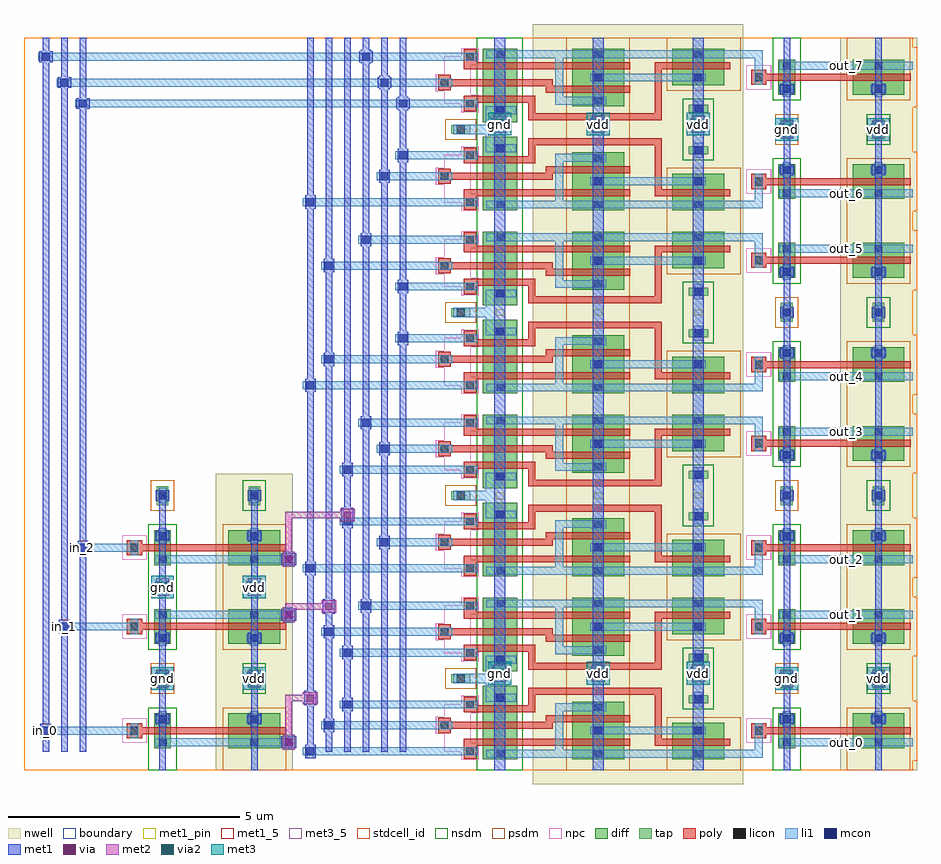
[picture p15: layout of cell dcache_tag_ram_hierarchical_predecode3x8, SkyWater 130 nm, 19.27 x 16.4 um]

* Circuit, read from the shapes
.subckt dcache_tag_ram_hierarchical_predecode3x8 gnd in_0 in_1 in_2 out_0 out_1 out_2 out_3 out_4 out_5 out_6 out_7 vdd
XM1 gnd in_0 dcache_tag_ram_and3_dec_3/A gnd sky130_fd_pr__nfet_01v8 w=0.36 l=0.15
XM2 dcache_tag_ram_and3_dec_3/B in_1 gnd gnd sky130_fd_pr__nfet_01v8 w=0.36 l=0.15
XM3 gnd in_2 dcache_tag_ram_and3_dec_3/C gnd sky130_fd_pr__nfet_01v8 w=0.36 l=0.15
XM4 n1 dcache_tag_ram_and3_dec_3/A dcache_tag_ram_and3_dec_3/dcache_tag_ram_pinv_dec_1/A gnd sky130_fd_pr__nfet_01v8 w=0.74 l=0.15
XM5 n2 dcache_tag_ram_and3_dec_3/B n1 gnd sky130_fd_pr__nfet_01v8 w=0.74 l=0.15
XM6 gnd dcache_tag_ram_and3_dec_3/C n2 gnd sky130_fd_pr__nfet_01v8 w=0.74 l=0.15
XM7 n3 dcache_tag_ram_and3_dec_3/C gnd gnd sky130_fd_pr__nfet_01v8 w=0.74 l=0.15
XM8 n4 dcache_tag_ram_and3_dec_3/B n3 gnd sky130_fd_pr__nfet_01v8 w=0.74 l=0.15
XM9 dcache_tag_ram_and3_dec_4/dcache_tag_ram_pinv_dec_1/A in_0 n4 gnd sky130_fd_pr__nfet_01v8 w=0.74 l=0.15
XM10 n5 dcache_tag_ram_and3_dec_3/A dcache_tag_ram_and3_dec_5/dcache_tag_ram_pinv_dec_1/A gnd sky130_fd_pr__nfet_01v8 w=0.74 l=0.15
XM11 n6 in_1 n5 gnd sky130_fd_pr__nfet_01v8 w=0.74 l=0.15
XM12 gnd dcache_tag_ram_and3_dec_3/C n6 gnd sky130_fd_pr__nfet_01v8 w=0.74 l=0.15
XM13 n7 dcache_tag_ram_and3_dec_3/C gnd gnd sky130_fd_pr__nfet_01v8 w=0.74 l=0.15
XM14 n8 in_1 n7 gnd sky130_fd_pr__nfet_01v8 w=0.74 l=0.15
XM15 dcache_tag_ram_and3_dec_6/dcache_tag_ram_pinv_dec_1/A in_0 n8 gnd sky130_fd_pr__nfet_01v8 w=0.74 l=0.15
XM16 n9 dcache_tag_ram_and3_dec_3/A dcache_tag_ram_and3_dec_7/dcache_tag_ram_pinv_dec_1/A gnd sky130_fd_pr__nfet_01v8 w=0.74 l=0.15
XM17 n10 dcache_tag_ram_and3_dec_3/B n9 gnd sky130_fd_pr__nfet_01v8 w=0.74 l=0.15
XM18 gnd in_2 n10 gnd sky130_fd_pr__nfet_01v8 w=0.74 l=0.15
XM19 n11 in_2 gnd gnd sky130_fd_pr__nfet_01v8 w=0.74 l=0.15
XM20 n12 dcache_tag_ram_and3_dec_3/B n11 gnd sky130_fd_pr__nfet_01v8 w=0.74 l=0.15
XM21 dcache_tag_ram_and3_dec_8/dcache_tag_ram_pinv_dec_1/A in_0 n12 gnd sky130_fd_pr__nfet_01v8 w=0.74 l=0.15
XM22 n13 dcache_tag_ram_and3_dec_3/A dcache_tag_ram_and3_dec_9/dcache_tag_ram_pinv_dec_1/A gnd sky130_fd_pr__nfet_01v8 w=0.74 l=0.15
XM23 n14 in_1 n13 gnd sky130_fd_pr__nfet_01v8 w=0.74 l=0.15
XM24 gnd in_2 n14 gnd sky130_fd_pr__nfet_01v8 w=0.74 l=0.15
XM25 n15 in_2 gnd gnd sky130_fd_pr__nfet_01v8 w=0.74 l=0.15
XM26 n16 in_1 n15 gnd sky130_fd_pr__nfet_01v8 w=0.74 l=0.15
XM27 dcache_tag_ram_and3_dec_10/dcache_tag_ram_pinv_dec_1/A in_0 n16 gnd sky130_fd_pr__nfet_01v8 w=0.74 l=0.15
XM28 gnd dcache_tag_ram_and3_dec_3/dcache_tag_ram_pinv_dec_1/A out_0 gnd sky130_fd_pr__nfet_01v8 w=0.36 l=0.15
XM29 out_1 dcache_tag_ram_and3_dec_4/dcache_tag_ram_pinv_dec_1/A gnd gnd sky130_fd_pr__nfet_01v8 w=0.36 l=0.15
XM30 gnd dcache_tag_ram_and3_dec_5/dcache_tag_ram_pinv_dec_1/A out_2 gnd sky130_fd_pr__nfet_01v8 w=0.36 l=0.15
XM31 out_3 dcache_tag_ram_and3_dec_6/dcache_tag_ram_pinv_dec_1/A gnd gnd sky130_fd_pr__nfet_01v8 w=0.36 l=0.15
XM32 gnd dcache_tag_ram_and3_dec_7/dcache_tag_ram_pinv_dec_1/A out_4 gnd sky130_fd_pr__nfet_01v8 w=0.36 l=0.15
XM33 out_5 dcache_tag_ram_and3_dec_8/dcache_tag_ram_pinv_dec_1/A gnd gnd sky130_fd_pr__nfet_01v8 w=0.36 l=0.15
XM34 gnd dcache_tag_ram_and3_dec_9/dcache_tag_ram_pinv_dec_1/A out_6 gnd sky130_fd_pr__nfet_01v8 w=0.36 l=0.15
XM35 out_7 dcache_tag_ram_and3_dec_10/dcache_tag_ram_pinv_dec_1/A gnd gnd sky130_fd_pr__nfet_01v8 w=0.36 l=0.15
XM36 vdd in_0 dcache_tag_ram_and3_dec_3/A vdd sky130_fd_pr__pfet_01v8 w=1.12 l=0.15
XM37 dcache_tag_ram_and3_dec_3/B in_1 vdd vdd sky130_fd_pr__pfet_01v8 w=1.12 l=0.15
XM38 vdd in_2 dcache_tag_ram_and3_dec_3/C vdd sky130_fd_pr__pfet_01v8 w=1.12 l=0.15
XM39 vdd dcache_tag_ram_and3_dec_3/A dcache_tag_ram_and3_dec_3/dcache_tag_ram_pinv_dec_1/A vdd sky130_fd_pr__pfet_01v8 w=1.12 l=0.15
XM40 dcache_tag_ram_and3_dec_3/dcache_tag_ram_pinv_dec_1/A dcache_tag_ram_and3_dec_3/B vdd vdd sky130_fd_pr__pfet_01v8 w=1.12 l=0.15
XM41 vdd dcache_tag_ram_and3_dec_3/B dcache_tag_ram_and3_dec_4/dcache_tag_ram_pinv_dec_1/A vdd sky130_fd_pr__pfet_01v8 w=1.12 l=0.15
XM42 dcache_tag_ram_and3_dec_4/dcache_tag_ram_pinv_dec_1/A in_0 vdd vdd sky130_fd_pr__pfet_01v8 w=1.12 l=0.15
XM43 vdd dcache_tag_ram_and3_dec_3/A dcache_tag_ram_and3_dec_5/dcache_tag_ram_pinv_dec_1/A vdd sky130_fd_pr__pfet_01v8 w=1.12 l=0.15
XM44 dcache_tag_ram_and3_dec_5/dcache_tag_ram_pinv_dec_1/A in_1 vdd vdd sky130_fd_pr__pfet_01v8 w=1.12 l=0.15
XM45 vdd in_1 dcache_tag_ram_and3_dec_6/dcache_tag_ram_pinv_dec_1/A vdd sky130_fd_pr__pfet_01v8 w=1.12 l=0.15
XM46 dcache_tag_ram_and3_dec_6/dcache_tag_ram_pinv_dec_1/A in_0 vdd vdd sky130_fd_pr__pfet_01v8 w=1.12 l=0.15
XM47 vdd dcache_tag_ram_and3_dec_3/A dcache_tag_ram_and3_dec_7/dcache_tag_ram_pinv_dec_1/A vdd sky130_fd_pr__pfet_01v8 w=1.12 l=0.15
XM48 dcache_tag_ram_and3_dec_7/dcache_tag_ram_pinv_dec_1/A dcache_tag_ram_and3_dec_3/B vdd vdd sky130_fd_pr__pfet_01v8 w=1.12 l=0.15
XM49 vdd dcache_tag_ram_and3_dec_3/B dcache_tag_ram_and3_dec_8/dcache_tag_ram_pinv_dec_1/A vdd sky130_fd_pr__pfet_01v8 w=1.12 l=0.15
XM50 dcache_tag_ram_and3_dec_8/dcache_tag_ram_pinv_dec_1/A in_0 vdd vdd sky130_fd_pr__pfet_01v8 w=1.12 l=0.15
XM51 vdd dcache_tag_ram_and3_dec_3/A dcache_tag_ram_and3_dec_9/dcache_tag_ram_pinv_dec_1/A vdd sky130_fd_pr__pfet_01v8 w=1.12 l=0.15
XM52 dcache_tag_ram_and3_dec_9/dcache_tag_ram_pinv_dec_1/A in_1 vdd vdd sky130_fd_pr__pfet_01v8 w=1.12 l=0.15
XM53 vdd in_1 dcache_tag_ram_and3_dec_10/dcache_tag_ram_pinv_dec_1/A vdd sky130_fd_pr__pfet_01v8 w=1.12 l=0.15
XM54 dcache_tag_ram_and3_dec_10/dcache_tag_ram_pinv_dec_1/A in_0 vdd vdd sky130_fd_pr__pfet_01v8 w=1.12 l=0.15
XM55 vdd dcache_tag_ram_and3_dec_3/C dcache_tag_ram_and3_dec_3/dcache_tag_ram_pinv_dec_1/A vdd sky130_fd_pr__pfet_01v8 w=1.12 l=0.15
XM56 dcache_tag_ram_and3_dec_4/dcache_tag_ram_pinv_dec_1/A dcache_tag_ram_and3_dec_3/C vdd vdd sky130_fd_pr__pfet_01v8 w=1.12 l=0.15
XM57 vdd dcache_tag_ram_and3_dec_3/C dcache_tag_ram_and3_dec_5/dcache_tag_ram_pinv_dec_1/A vdd sky130_fd_pr__pfet_01v8 w=1.12 l=0.15
XM58 dcache_tag_ram_and3_dec_6/dcache_tag_ram_pinv_dec_1/A dcache_tag_ram_and3_dec_3/C vdd vdd sky130_fd_pr__pfet_01v8 w=1.12 l=0.15
XM59 vdd in_2 dcache_tag_ram_and3_dec_7/dcache_tag_ram_pinv_dec_1/A vdd sky130_fd_pr__pfet_01v8 w=1.12 l=0.15
XM60 dcache_tag_ram_and3_dec_8/dcache_tag_ram_pinv_dec_1/A in_2 vdd vdd sky130_fd_pr__pfet_01v8 w=1.12 l=0.15
XM61 vdd in_2 dcache_tag_ram_and3_dec_9/dcache_tag_ram_pinv_dec_1/A vdd sky130_fd_pr__pfet_01v8 w=1.12 l=0.15
XM62 dcache_tag_ram_and3_dec_10/dcache_tag_ram_pinv_dec_1/A in_2 vdd vdd sky130_fd_pr__pfet_01v8 w=1.12 l=0.15
XM63 vdd dcache_tag_ram_and3_dec_3/dcache_tag_ram_pinv_dec_1/A out_0 vdd sky130_fd_pr__pfet_01v8 w=1.12 l=0.15
XM64 out_1 dcache_tag_ram_and3_dec_4/dcache_tag_ram_pinv_dec_1/A vdd vdd sky130_fd_pr__pfet_01v8 w=1.12 l=0.15
XM65 vdd dcache_tag_ram_and3_dec_5/dcache_tag_ram_pinv_dec_1/A out_2 vdd sky130_fd_pr__pfet_01v8 w=1.12 l=0.15
XM66 out_3 dcache_tag_ram_and3_dec_6/dcache_tag_ram_pinv_dec_1/A vdd vdd sky130_fd_pr__pfet_01v8 w=1.12 l=0.15
XM67 vdd dcache_tag_ram_and3_dec_7/dcache_tag_ram_pinv_dec_1/A out_4 vdd sky130_fd_pr__pfet_01v8 w=1.12 l=0.15
XM68 out_5 dcache_tag_ram_and3_dec_8/dcache_tag_ram_pinv_dec_1/A vdd vdd sky130_fd_pr__pfet_01v8 w=1.12 l=0.15
XM69 vdd dcache_tag_ram_and3_dec_9/dcache_tag_ram_pinv_dec_1/A out_6 vdd sky130_fd_pr__pfet_01v8 w=1.12 l=0.15
XM70 out_7 dcache_tag_ram_and3_dec_10/dcache_tag_ram_pinv_dec_1/A vdd vdd sky130_fd_pr__pfet_01v8 w=1.12 l=0.15
.ends

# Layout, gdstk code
from math import pi, radians
import gdstk
lib = gdstk.Library(unit=1e-6, precision=1e-09)
def R(c, l, rs):  # rectangles x0, y0, x1, y1
    for r in rs: c.add(gdstk.rectangle(r[:2], r[2:], *l))
def A(c, l, x, y, w, h, nx, ny, dx, dy):  # array of equal rectangles
    R(c, l, [(x+i*dx, y+j*dy, x+i*dx+w, y+j*dy+h) for i in range(nx) for j in range(ny)])
nwell = (64, 20)
diff = (65, 20)
tap = (65, 44)
poly = (66, 20)
licon = (66, 44)
li1 = (67, 20)
mcon = (67, 44)
met1_5 = (68, 5)
met1_pin = (68, 16)
met1 = (68, 20)
via = (68, 44)
met2 = (69, 20)
via2 = (69, 44)
met3_5 = (70, 5)
met3 = (70, 20)
stdcell_id = (81, 4)
nsdm = (93, 44)
psdm = (94, 20)
npc = (95, 20)
boundary = (235, 4)

dcache_tag_ram_contact_1 = lib.new_cell('dcache_tag_ram_contact_11')
R(dcache_tag_ram_contact_1, nwell, [(-0.295,-0.255,0.545,0.585)])
R(dcache_tag_ram_contact_1, diff, [(0,0.02,0.25,0.31)])
R(dcache_tag_ram_contact_1, licon, [(0.04,0.08,0.21,0.25)])
R(dcache_tag_ram_contact_1, li1, [(0.04,0,0.21,0.33)])
R(dcache_tag_ram_contact_1, stdcell_id, [(-0.295,-0.255,0.545,0.585)])
R(dcache_tag_ram_contact_1, psdm, [(-0.125,-0.105,0.375,0.435)])
R(dcache_tag_ram_contact_1, boundary, [(-0.295,-0.255,0.545,0.585)])

dcache_tag_ram_pmos_m1_w = lib.new_cell('dcache_tag_ram_pmos_m1_w1_120_sli_dli_da_p')
R(dcache_tag_ram_pmos_m1_w, nwell, [(-0.27,-0.27,1.02,1.39)])
R(dcache_tag_ram_pmos_m1_w, diff, [(0,0,0.75,1.12)])
R(dcache_tag_ram_pmos_m1_w, poly, [(0.3,-0.13,0.45,1.25), (0.3,-0.13,0.45,1.25)])
R(dcache_tag_ram_pmos_m1_w, li1, [(0.04,0.395,0.21,0.725), (0.54,0.395,0.71,0.725)])
R(dcache_tag_ram_pmos_m1_w, stdcell_id, [(-0.27,-0.27,1.02,1.39)])
R(dcache_tag_ram_pmos_m1_w, psdm, [(-0.125,-0.125,0.875,1.245)])
R(dcache_tag_ram_pmos_m1_w, boundary, [(-0.27,-0.27,1.02,1.39)])
dcache_tag_ram_pmos_m1_w.add(gdstk.Reference(dcache_tag_ram_contact_1, (0,0.395)))
dcache_tag_ram_pmos_m1_w.add(gdstk.Reference(dcache_tag_ram_contact_1, (0.5,0.395)))
dcache_tag_ram_pmos_m1_w.add(gdstk.Label('G', (0.375,0.56), layer=66, texttype=5))
dcache_tag_ram_pmos_m1_w.add(gdstk.Label('S', (0.125,0.56), layer=67, texttype=5))
dcache_tag_ram_pmos_m1_w.add(gdstk.Label('D', (0.625,0.56), layer=67, texttype=5))

c_dcache_tag_ram_contact_1 = lib.new_cell('dcache_tag_ram_contact_10')
R(c_dcache_tag_ram_contact_1, diff, [(0,0.02,0.25,0.31)])
R(c_dcache_tag_ram_contact_1, licon, [(0.04,0.08,0.21,0.25)])
R(c_dcache_tag_ram_contact_1, li1, [(0.04,0,0.21,0.33)])
R(c_dcache_tag_ram_contact_1, stdcell_id, [(-0.125,-0.105,0.375,0.435)])
R(c_dcache_tag_ram_contact_1, nsdm, [(-0.125,-0.105,0.375,0.435)])
R(c_dcache_tag_ram_contact_1, boundary, [(-0.125,-0.105,0.375,0.435)])

dcache_tag_ram_nmos_m1_w = lib.new_cell('dcache_tag_ram_nmos_m1_w0_360_sli_dli_da_p')
R(dcache_tag_ram_nmos_m1_w, diff, [(0,0,0.75,0.36)])
R(dcache_tag_ram_nmos_m1_w, poly, [(0.3,-0.13,0.45,0.49), (0.3,-0.13,0.45,0.49)])
R(dcache_tag_ram_nmos_m1_w, li1, [(0.04,0.015,0.21,0.345), (0.54,0.015,0.71,0.345)])
R(dcache_tag_ram_nmos_m1_w, stdcell_id, [(-0.125,-0.13,0.875,0.49)])
R(dcache_tag_ram_nmos_m1_w, nsdm, [(-0.125,-0.125,0.875,0.485)])
R(dcache_tag_ram_nmos_m1_w, boundary, [(-0.125,-0.13,0.875,0.49)])
dcache_tag_ram_nmos_m1_w.add(gdstk.Reference(c_dcache_tag_ram_contact_1, (0,0.015)))
dcache_tag_ram_nmos_m1_w.add(gdstk.Reference(c_dcache_tag_ram_contact_1, (0.5,0.015)))
dcache_tag_ram_nmos_m1_w.add(gdstk.Label('G', (0.375,0.18), layer=66, texttype=5))
dcache_tag_ram_nmos_m1_w.add(gdstk.Label('S', (0.125,0.18), layer=67, texttype=5))
dcache_tag_ram_nmos_m1_w.add(gdstk.Label('D', (0.625,0.18), layer=67, texttype=5))

c_dcache_tag_ram_contact_1_ = lib.new_cell('dcache_tag_ram_contact_12')
R(c_dcache_tag_ram_contact_1_, nwell, [(-0.295,-0.215,0.545,0.625)])
R(c_dcache_tag_ram_contact_1_, tap, [(0,0,0.25,0.41)])
R(c_dcache_tag_ram_contact_1_, licon, [(0.04,0.12,0.21,0.29)])
R(c_dcache_tag_ram_contact_1_, li1, [(0.04,0.04,0.21,0.37)])
R(c_dcache_tag_ram_contact_1_, stdcell_id, [(-0.295,-0.215,0.545,0.625)])
R(c_dcache_tag_ram_contact_1_, nsdm, [(-0.125,-0.125,0.375,0.535)])
R(c_dcache_tag_ram_contact_1_, boundary, [(-0.295,-0.215,0.545,0.625)])

c_dcache_tag_ram_contact_1__ = lib.new_cell('dcache_tag_ram_contact_13')
R(c_dcache_tag_ram_contact_1__, li1, [(0.06,0,0.23,0.33)])
R(c_dcache_tag_ram_contact_1__, mcon, [(0.06,0.08,0.23,0.25)])
R(c_dcache_tag_ram_contact_1__, met1, [(0,0.05,0.29,0.28)])
R(c_dcache_tag_ram_contact_1__, stdcell_id, [(0,0,0.29,0.33)])
R(c_dcache_tag_ram_contact_1__, boundary, [(0,0,0.29,0.33)])

c_dcache_tag_ram_contact_1___ = lib.new_cell('dcache_tag_ram_contact_14')
R(c_dcache_tag_ram_contact_1___, tap, [(0,0,0.25,0.41)])
R(c_dcache_tag_ram_contact_1___, licon, [(0.04,0.12,0.21,0.29)])
R(c_dcache_tag_ram_contact_1___, li1, [(0.04,0.04,0.21,0.37)])
R(c_dcache_tag_ram_contact_1___, stdcell_id, [(-0.125,-0.125,0.375,0.535)])
R(c_dcache_tag_ram_contact_1___, psdm, [(-0.125,-0.125,0.375,0.535)])
R(c_dcache_tag_ram_contact_1___, boundary, [(-0.125,-0.125,0.375,0.535)])

c_dcache_tag_ram_contact_1____ = lib.new_cell('dcache_tag_ram_contact_15')
R(c_dcache_tag_ram_contact_1____, poly, [(0,0,0.33,0.33)])
R(c_dcache_tag_ram_contact_1____, licon, [(0.08,0.08,0.25,0.25)])
R(c_dcache_tag_ram_contact_1____, li1, [(0.08,0,0.25,0.33)])
R(c_dcache_tag_ram_contact_1____, stdcell_id, [(-0.1,-0.1,0.43,0.43)])
R(c_dcache_tag_ram_contact_1____, npc, [(-0.1,-0.1,0.43,0.43)])
R(c_dcache_tag_ram_contact_1____, boundary, [(-0.1,-0.1,0.43,0.43)])

dcache_tag_ram_pinv_dec = lib.new_cell('dcache_tag_ram_pinv_dec')
R(dcache_tag_ram_pinv_dec, nwell, [(2.14,0,3.8,2.45)])
R(dcache_tag_ram_pinv_dec, poly, [(0.385,0.775,0.68,0.925), (1.3,0.775,2.28,0.925)])
R(dcache_tag_ram_pinv_dec, li1, [(0.825,0.515,3.71,0.685), (0.3,0.685,0.47,1.015)])
R(dcache_tag_ram_pinv_dec, met1_5, [(0.92,0,1.06,1.975), (2.9,0,3.04,1.975)])
R(dcache_tag_ram_pinv_dec, met1, [(0.92,0,1.06,1.975), (2.9,0,3.04,1.975)])
R(dcache_tag_ram_pinv_dec, stdcell_id, [(0,0,3.71,1.975), (0,0,3.71,1.975)])
R(dcache_tag_ram_pinv_dec, nsdm, [(0.685,0,1.295,1.225)])
R(dcache_tag_ram_pinv_dec, psdm, [(2.285,0,3.655,1.225)])
R(dcache_tag_ram_pinv_dec, boundary, [(0,0,3.71,1.975), (0,0,3.71,1.975)])
dcache_tag_ram_pinv_dec.add(gdstk.Reference(dcache_tag_ram_pmos_m1_w, (2.41,1.225), rotation=3*pi/2))
dcache_tag_ram_pinv_dec.add(gdstk.Reference(dcache_tag_ram_nmos_m1_w, (0.81,1.225), rotation=3*pi/2))
dcache_tag_ram_pinv_dec.add(gdstk.Reference(c_dcache_tag_ram_contact_1_, (2.845,1.77)))
dcache_tag_ram_pinv_dec.add(gdstk.Reference(c_dcache_tag_ram_contact_1__, (2.825,1.81)))
dcache_tag_ram_pinv_dec.add(gdstk.Reference(c_dcache_tag_ram_contact_1___, (0.865,1.77)))
dcache_tag_ram_pinv_dec.add(gdstk.Reference(c_dcache_tag_ram_contact_1__, (0.845,1.81)))
dcache_tag_ram_pinv_dec.add(gdstk.Reference(c_dcache_tag_ram_contact_1____, (0.22,0.685)))
dcache_tag_ram_pinv_dec.add(gdstk.Reference(c_dcache_tag_ram_contact_1__, (0.845,0.935)))
dcache_tag_ram_pinv_dec.add(gdstk.Reference(c_dcache_tag_ram_contact_1__, (2.825,0.935)))
dcache_tag_ram_pinv_dec.add(gdstk.Label('A', (0.385,0.85), layer=67, texttype=5))
dcache_tag_ram_pinv_dec.add(gdstk.Label('Z', (2.268,0.6), layer=67, texttype=5))
dcache_tag_ram_pinv_dec.add(gdstk.Label('gnd', (0.99,0.988), layer=68, texttype=5))
dcache_tag_ram_pinv_dec.add(gdstk.Label('vdd', (2.97,0.988), layer=68, texttype=5))

sky130_fd_bd_sram__openr = lib.new_cell('sky130_fd_bd_sram__openram_dp_nand3_dec')
R(sky130_fd_bd_sram__openr, nwell, [(2.07,-0.3,6.61,2.37)])
R(sky130_fd_bd_sram__openr, diff, [(0.99,0.23,1.73,1.82), (2.92,0.23,4.04,1.48), (5.08,0.23,6.2,1.02)])
R(sky130_fd_bd_sram__openr, tap, [(5.43,1.44,5.85,1.61), (0.31,1.885,0.72,2.07)])
R(sky130_fd_bd_sram__openr, poly, [(0.58,0.24,0.85,0.53), (0.58,0.53,4.17,0.68), (4.7,0.53,6.33,0.68), (4.7,0.68,4.85,1.63), (0.03,0.8,0.3,0.89), (0.03,0.89,2.5,1.03), (0.03,1.03,4.17,1.04), (0.03,1.04,0.3,1.13), (2.35,1.04,4.17,1.18), (0.58,1.25,2.12,1.4), (0.58,1.4,0.85,1.58), (1.97,1.4,2.12,1.63), (1.97,1.63,4.85,1.78)])
A(sky130_fd_bd_sram__openr, licon, 3.395, 0.27, 0.17, 0.17, 1, 3, 0, 0.5)
R(sky130_fd_bd_sram__openr, licon, [(1.295,0.27,1.465,0.44), (5.555,0.27,5.725,0.44), (0.63,0.32,0.8,0.49), (5.555,0.77,5.725,0.94), (0.08,0.88,0.25,1.05), (0.63,1.33,0.8,1.5), (5.55,1.44,5.72,1.61), (1.305,1.48,1.475,1.65), (0.43,1.89,0.6,2.06)])
R(sky130_fd_bd_sram__openr, li1, [(1.06,0.27,6.61,0.44), (1.06,0.27,6.61,0.44), (0.55,0.32,0.88,0.49), (0.55,0.32,0.88,0.49), (2.555,0.44,2.725,1.275), (3.31,0.77,5.805,0.94), (0,0.88,0.33,1.05), (0,0.88,0.33,1.05), (3.31,1.27,3.65,1.275), (2.555,1.275,3.65,1.44), (0.55,1.33,0.88,1.5), (0.55,1.33,0.88,1.5), (5.55,1.36,5.74,1.69), (2.555,1.44,3.435,1.445), (1.05,1.48,1.71,1.65), (1.05,1.65,1.25,1.885), (0.35,1.885,1.25,2.075)])
R(sky130_fd_bd_sram__openr, mcon, [(3.395,0.77,3.565,0.94), (5.555,0.77,5.725,0.94), (5.555,1.44,5.725,1.61), (1.27,1.48,1.44,1.65)])
R(sky130_fd_bd_sram__openr, met1_5, [(1.24,0,1.47,2.09), (3.36,0,3.6,2.09), (5.52,0,5.76,2.09)])
R(sky130_fd_bd_sram__openr, met1_pin, [(1.27,1.9,1.45,1.99), (3.39,1.91,3.57,2), (5.55,1.94,5.73,2.03)])
R(sky130_fd_bd_sram__openr, met1, [(1.24,0,1.47,2.09), (1.24,0,1.47,2.09), (3.36,0,3.6,2.09), (3.36,0,3.6,2.09), (5.52,0,5.76,2.09), (5.52,0,5.76,2.09)])
R(sky130_fd_bd_sram__openr, nsdm, [(0.865,0,1.855,1.975), (5.305,1.315,5.975,1.975)])
R(sky130_fd_bd_sram__openr, psdm, [(2.795,0,4.165,1.975), (4.955,0,6.56,1.145), (0.185,1.76,0.845,2.195)])
R(sky130_fd_bd_sram__openr, npc, [(0.53,0.22,0.9,0.395), (0.155,0.395,0.9,0.59), (0.155,0.59,0.725,0.78), (-0.02,0.78,0.725,1.15), (0.155,1.15,0.725,1.23), (0.155,1.23,0.9,1.425), (0.53,1.425,0.9,1.6)])
R(sky130_fd_bd_sram__openr, boundary, [(0,0,6.56,1.975)])
sky130_fd_bd_sram__openr.add(gdstk.Label('VDD', (3.48,1.955), layer=68, texttype=16))
sky130_fd_bd_sram__openr.add(gdstk.Label('VDD', (5.64,1.985), layer=68, texttype=16))
sky130_fd_bd_sram__openr.add(gdstk.Label('GND', (1.36,1.945), layer=68, texttype=16))
sky130_fd_bd_sram__openr.add(gdstk.Label('C', (0.7,1.42), layer=67, texttype=16))
sky130_fd_bd_sram__openr.add(gdstk.Label('Z', (6.47,0.355), layer=67, texttype=16))
sky130_fd_bd_sram__openr.add(gdstk.Label('B', (0.15,0.98), layer=67, texttype=16))
sky130_fd_bd_sram__openr.add(gdstk.Label('A', (0.7,0.42), layer=67, texttype=16))
sky130_fd_bd_sram__openr.add(gdstk.Label('A', (0.715,0.405), layer=67, texttype=5))
sky130_fd_bd_sram__openr.add(gdstk.Label('B', (0.165,0.965), layer=67, texttype=5))
sky130_fd_bd_sram__openr.add(gdstk.Label('C', (0.715,1.415), layer=67, texttype=5))
sky130_fd_bd_sram__openr.add(gdstk.Label('Z', (3.835,0.355), layer=67, texttype=5))
sky130_fd_bd_sram__openr.add(gdstk.Label('vdd', (3.48,1.045), layer=68, texttype=5))
sky130_fd_bd_sram__openr.add(gdstk.Label('vdd', (5.64,1.045), layer=68, texttype=5))
sky130_fd_bd_sram__openr.add(gdstk.Label('gnd', (1.355,1.045), layer=68, texttype=5))

dcache_tag_ram_and3_dec = lib.new_cell('dcache_tag_ram_and3_dec')
R(dcache_tag_ram_and3_dec, li1, [(3.835,0.27,6.945,0.44), (6.86,0.27,7.03,0.44), (0.55,0.32,0.88,0.49), (6.86,0.355,7.03,0.85), (7.385,0.515,10.27,0.685), (0,0.88,0.33,1.05), (0.55,1.33,0.88,1.5)])
R(dcache_tag_ram_and3_dec, met1_5, [(1.24,0,1.47,2.09), (3.36,0,3.6,2.09), (5.52,0,5.76,2.09), (7.48,0,7.62,1.975), (9.46,0,9.6,1.975)])
R(dcache_tag_ram_and3_dec, met1, [(1.24,0,1.47,2.09), (3.36,0,3.6,2.09), (5.52,0,5.76,2.09), (7.48,0,7.62,1.975), (9.46,0,9.6,1.975)])
R(dcache_tag_ram_and3_dec, stdcell_id, [(0,0,10.27,1.975)])
R(dcache_tag_ram_and3_dec, boundary, [(0,0,10.27,1.975)])
dcache_tag_ram_and3_dec.add(gdstk.Reference(sky130_fd_bd_sram__openr, (0,0)))
dcache_tag_ram_and3_dec.add(gdstk.Reference(dcache_tag_ram_pinv_dec, (6.56,0)))
dcache_tag_ram_and3_dec.add(gdstk.Label('Z', (8.828,0.6), layer=67, texttype=5))
dcache_tag_ram_and3_dec.add(gdstk.Label('A', (0.715,0.405), layer=67, texttype=5))
dcache_tag_ram_and3_dec.add(gdstk.Label('B', (0.165,0.965), layer=67, texttype=5))
dcache_tag_ram_and3_dec.add(gdstk.Label('C', (0.715,1.415), layer=67, texttype=5))
dcache_tag_ram_and3_dec.add(gdstk.Label('vdd', (5.64,1.045), layer=68, texttype=5))
dcache_tag_ram_and3_dec.add(gdstk.Label('vdd', (3.48,1.045), layer=68, texttype=5))
dcache_tag_ram_and3_dec.add(gdstk.Label('vdd', (9.53,0.988), layer=68, texttype=5))
dcache_tag_ram_and3_dec.add(gdstk.Label('gnd', (1.355,1.045), layer=68, texttype=5))
dcache_tag_ram_and3_dec.add(gdstk.Label('gnd', (7.55,0.988), layer=68, texttype=5))

c_dcache_tag_ram_contact_1_____ = lib.new_cell('dcache_tag_ram_contact_16')
R(c_dcache_tag_ram_contact_1_____, li1, [(0,0.06,0.33,0.23)])
R(c_dcache_tag_ram_contact_1_____, mcon, [(0.08,0.06,0.25,0.23)])
R(c_dcache_tag_ram_contact_1_____, met1, [(0.05,0,0.28,0.29)])
R(c_dcache_tag_ram_contact_1_____, stdcell_id, [(0,0,0.33,0.29)])
R(c_dcache_tag_ram_contact_1_____, boundary, [(0,0,0.33,0.29)])

c_dcache_tag_ram_contact_1______ = lib.new_cell('dcache_tag_ram_contact_18')
R(c_dcache_tag_ram_contact_1______, met1, [(0,0.03,0.32,0.29)])
R(c_dcache_tag_ram_contact_1______, via, [(0.085,0.085,0.235,0.235)])
R(c_dcache_tag_ram_contact_1______, met2, [(0.03,0,0.29,0.32)])
R(c_dcache_tag_ram_contact_1______, stdcell_id, [(0,0,0.32,0.32)])
R(c_dcache_tag_ram_contact_1______, boundary, [(0,0,0.32,0.32)])

c_dcache_tag_ram_contact_1_______ = lib.new_cell('dcache_tag_ram_contact_19')
R(c_dcache_tag_ram_contact_1_______, met1, [(0.03,0,0.29,0.32)])
R(c_dcache_tag_ram_contact_1_______, via, [(0.085,0.085,0.235,0.235)])
R(c_dcache_tag_ram_contact_1_______, met2, [(0,0.03,0.32,0.29)])
R(c_dcache_tag_ram_contact_1_______, stdcell_id, [(0,0,0.32,0.32)])
R(c_dcache_tag_ram_contact_1_______, boundary, [(0,0,0.32,0.32)])

dcache_tag_ram_contact_2 = lib.new_cell('dcache_tag_ram_contact_20')
R(dcache_tag_ram_contact_2, li1, [(0,0.03,0.33,0.2)])
R(dcache_tag_ram_contact_2, mcon, [(0.08,0.03,0.25,0.2)])
R(dcache_tag_ram_contact_2, met1, [(0.02,0,0.31,0.23)])
R(dcache_tag_ram_contact_2, stdcell_id, [(0,0,0.33,0.23)])
R(dcache_tag_ram_contact_2, boundary, [(0,0,0.33,0.23)])

c_dcache_tag_ram_contact_2 = lib.new_cell('dcache_tag_ram_contact_21')
R(c_dcache_tag_ram_contact_2, met2, [(0.025,0,0.305,0.37)])
R(c_dcache_tag_ram_contact_2, via2, [(0.065,0.085,0.265,0.285)])
R(c_dcache_tag_ram_contact_2, met3, [(0,0.02,0.33,0.35)])
R(c_dcache_tag_ram_contact_2, stdcell_id, [(0,0,0.33,0.37)])
R(c_dcache_tag_ram_contact_2, boundary, [(0,0,0.33,0.37)])

dcache_tag_ram_hierarchi = lib.new_cell('dcache_tag_ram_hierarchical_predecode3x8')
A(dcache_tag_ram_hierarchi, li1, 6.18, 0.32, 3.445, 0.17, 1, 4, 0, 3.95)
A(dcache_tag_ram_hierarchi, li1, 7.38, 3.46, 2.245, 0.17, 1, 4, 0, 3.95)
R(dcache_tag_ram_hierarchi, li1, [(9.54,0.32,9.71,0.49), (16.295,0.515,19.18,0.685), (0.47,0.765,2.385,0.935), (2.3,0.765,2.47,0.935), (6.58,0.88,9.075,1.05), (8.99,0.88,9.16,1.05), (6.98,1.33,9.625,1.5), (9.54,1.33,9.71,1.5), (6.98,2.45,9.625,2.62), (9.54,2.45,9.71,2.62), (6.58,2.9,9.075,3.07), (8.99,2.9,9.16,3.07), (0.87,3.015,2.385,3.185), (2.3,3.015,2.47,3.185), (16.295,3.265,19.18,3.435), (9.54,3.46,9.71,3.63), (9.54,4.27,9.71,4.44), (16.295,4.465,19.18,4.635), (1.27,4.715,2.385,4.885), (2.3,4.715,2.47,4.885), (7.78,4.83,9.075,5), (8.99,4.83,9.16,5), (6.98,5.28,9.625,5.45), (9.54,5.28,9.71,5.45), (6.98,6.4,9.625,6.57), (9.54,6.4,9.71,6.57), (7.78,6.85,9.075,7.02), (8.99,6.85,9.16,7.02), (16.295,7.215,19.18,7.385), (9.54,7.41,9.71,7.58), (9.54,8.22,9.71,8.39), (16.295,8.415,19.18,8.585), (6.58,8.78,9.075,8.95), (8.99,8.78,9.16,8.95), (8.18,9.23,9.625,9.4), (9.54,9.23,9.71,9.4), (8.18,10.35,9.625,10.52), (9.54,10.35,9.71,10.52), (6.58,10.8,9.075,10.97), (8.99,10.8,9.16,10.97), (16.295,11.165,19.18,11.335), (9.54,11.36,9.71,11.53), (9.54,12.17,9.71,12.34), (16.295,12.365,19.18,12.535), (7.78,12.73,9.075,12.9), (8.99,12.73,9.16,12.9), (8.18,13.18,9.625,13.35), (9.54,13.18,9.71,13.35), (1.27,14.3,8.18,14.47), (8.18,14.3,9.625,14.47), (9.54,14.3,9.71,14.47), (0.87,14.75,7.78,14.92), (7.78,14.75,9.075,14.92), (8.99,14.75,9.16,14.92), (16.295,15.115,19.18,15.285), (0.47,15.31,7.38,15.48), (9.54,15.31,9.71,15.48)])
R(dcache_tag_ram_hierarchi, met1_5, [(0.355,0.705,0.585,0.995), (0.755,2.955,0.985,3.245), (1.155,4.655,1.385,4.945)])
A(dcache_tag_ram_hierarchi, met1, 0.4, 0.4, 0.14, 15.4, 3, 1, 0.4, 0)
A(dcache_tag_ram_hierarchi, met1, 6.11, 0.4, 0.14, 15.4, 6, 1, 0.4, 0)
R(dcache_tag_ram_hierarchi, met1, [(2.92,0.4,3.06,5.925), (4.9,0.4,5.04,5.925), (10.15,0.4,10.38,15.8), (12.27,0.4,12.51,15.8), (14.43,0.4,14.67,15.8), (16.39,0.4,16.53,15.8), (18.37,0.4,18.51,15.8), (5.55,0.47,5.87,0.73), (0.355,0.705,0.585,0.995), (0.755,2.955,0.985,3.245), (5.55,3.22,5.87,3.48), (5.55,4.42,5.87,4.68), (1.155,4.655,1.385,4.945)])
A(dcache_tag_ram_hierarchi, met2, 5.64, 1.485, 0.14, 0.14, 1, 3, 0, 1.975)
R(dcache_tag_ram_hierarchi, met2, [(5.64,0.6,5.78,1.555), (5.71,1.485,6.18,1.625), (2.85,1.85,3.13,2.095), (4.83,1.85,5.11,2.095), (16.32,1.85,16.6,2.095), (18.3,1.85,18.58,2.095), (10.125,1.97,10.405,2.215), (12.25,1.97,12.53,2.215), (14.41,1.97,14.69,2.215), (5.64,3.35,5.78,3.53), (5.71,3.46,6.58,3.6), (2.85,3.83,3.13,4.075), (4.83,3.83,5.11,4.075), (5.64,4.55,5.78,5.505), (5.71,5.435,6.98,5.575), (16.32,13.7,16.6,13.945), (18.3,13.7,18.58,13.945), (10.125,13.82,10.405,14.065), (12.25,13.82,12.53,14.065), (14.41,13.82,14.69,14.065)])
R(dcache_tag_ram_hierarchi, met3_5, [(2.745,1.73,3.235,2.22), (4.725,1.73,5.215,2.22), (16.215,1.73,16.705,2.22), (18.195,1.73,18.685,2.22), (10.02,1.845,10.51,2.335), (12.145,1.845,12.635,2.335), (14.305,1.845,14.795,2.335), (2.745,3.705,3.235,4.195), (4.725,3.705,5.215,4.195), (16.215,13.58,16.705,14.07), (18.195,13.58,18.685,14.07), (10.02,13.695,10.51,14.185), (12.145,13.695,12.635,14.185), (14.305,13.695,14.795,14.185)])
R(dcache_tag_ram_hierarchi, met3, [(2.745,1.73,3.235,2.22), (4.725,1.73,5.215,2.22), (16.215,1.73,16.705,2.22), (18.195,1.73,18.685,2.22), (10.02,1.845,10.51,2.335), (12.145,1.845,12.635,2.335), (14.305,1.845,14.795,2.335), (2.745,3.705,3.235,4.195), (4.725,3.705,5.215,4.195), (16.215,13.58,16.705,14.07), (18.195,13.58,18.685,14.07), (10.02,13.695,10.51,14.185), (12.145,13.695,12.635,14.185), (14.305,13.695,14.795,14.185)])
R(dcache_tag_ram_hierarchi, stdcell_id, [(0,0,19.18,15.8)])
R(dcache_tag_ram_hierarchi, boundary, [(0,0,19.18,15.8)])
dcache_tag_ram_hierarchi.add(gdstk.Reference(dcache_tag_ram_pinv_dec, (2,0)))
dcache_tag_ram_hierarchi.add(gdstk.Reference(dcache_tag_ram_pinv_dec, (2,3.95), x_reflection=True))
dcache_tag_ram_hierarchi.add(gdstk.Reference(dcache_tag_ram_pinv_dec, (2,3.95)))
dcache_tag_ram_hierarchi.add(gdstk.Reference(dcache_tag_ram_and3_dec, (8.91,0)))
dcache_tag_ram_hierarchi.add(gdstk.Reference(dcache_tag_ram_and3_dec, (8.91,3.95), x_reflection=True))
dcache_tag_ram_hierarchi.add(gdstk.Reference(dcache_tag_ram_and3_dec, (8.91,3.95)))
dcache_tag_ram_hierarchi.add(gdstk.Reference(dcache_tag_ram_and3_dec, (8.91,7.9), x_reflection=True))
dcache_tag_ram_hierarchi.add(gdstk.Reference(dcache_tag_ram_and3_dec, (8.91,7.9)))
dcache_tag_ram_hierarchi.add(gdstk.Reference(dcache_tag_ram_and3_dec, (8.91,11.85), x_reflection=True))
dcache_tag_ram_hierarchi.add(gdstk.Reference(dcache_tag_ram_and3_dec, (8.91,11.85)))
dcache_tag_ram_hierarchi.add(gdstk.Reference(dcache_tag_ram_and3_dec, (8.91,15.8), x_reflection=True))
dcache_tag_ram_hierarchi.add(gdstk.Reference(c_dcache_tag_ram_contact_1_____, (0.305,0.705)))
dcache_tag_ram_hierarchi.add(gdstk.Reference(c_dcache_tag_ram_contact_1_____, (0.705,2.955)))
dcache_tag_ram_hierarchi.add(gdstk.Reference(c_dcache_tag_ram_contact_1_____, (1.105,4.655)))
dcache_tag_ram_hierarchi.add(gdstk.Reference(c_dcache_tag_ram_contact_1_____, (6.015,0.26)))
dcache_tag_ram_hierarchi.add(gdstk.Reference(c_dcache_tag_ram_contact_1_____, (6.415,0.82)))
dcache_tag_ram_hierarchi.add(gdstk.Reference(c_dcache_tag_ram_contact_1_____, (6.815,1.27)))
dcache_tag_ram_hierarchi.add(gdstk.Reference(c_dcache_tag_ram_contact_1_____, (7.215,3.4)))
dcache_tag_ram_hierarchi.add(gdstk.Reference(c_dcache_tag_ram_contact_1_____, (6.415,2.84)))
dcache_tag_ram_hierarchi.add(gdstk.Reference(c_dcache_tag_ram_contact_1_____, (6.815,2.39)))
dcache_tag_ram_hierarchi.add(gdstk.Reference(c_dcache_tag_ram_contact_1_____, (6.015,4.21)))
dcache_tag_ram_hierarchi.add(gdstk.Reference(c_dcache_tag_ram_contact_1_____, (7.615,4.77)))
dcache_tag_ram_hierarchi.add(gdstk.Reference(c_dcache_tag_ram_contact_1_____, (6.815,5.22)))
dcache_tag_ram_hierarchi.add(gdstk.Reference(c_dcache_tag_ram_contact_1_____, (7.215,7.35)))
dcache_tag_ram_hierarchi.add(gdstk.Reference(c_dcache_tag_ram_contact_1_____, (7.615,6.79)))
dcache_tag_ram_hierarchi.add(gdstk.Reference(c_dcache_tag_ram_contact_1_____, (6.815,6.34)))
dcache_tag_ram_hierarchi.add(gdstk.Reference(c_dcache_tag_ram_contact_1_____, (6.015,8.16)))
dcache_tag_ram_hierarchi.add(gdstk.Reference(c_dcache_tag_ram_contact_1_____, (6.415,8.72)))
dcache_tag_ram_hierarchi.add(gdstk.Reference(c_dcache_tag_ram_contact_1_____, (8.015,9.17)))
dcache_tag_ram_hierarchi.add(gdstk.Reference(c_dcache_tag_ram_contact_1_____, (7.215,11.3)))
dcache_tag_ram_hierarchi.add(gdstk.Reference(c_dcache_tag_ram_contact_1_____, (6.415,10.74)))
dcache_tag_ram_hierarchi.add(gdstk.Reference(c_dcache_tag_ram_contact_1_____, (8.015,10.29)))
dcache_tag_ram_hierarchi.add(gdstk.Reference(c_dcache_tag_ram_contact_1_____, (6.015,12.11)))
dcache_tag_ram_hierarchi.add(gdstk.Reference(c_dcache_tag_ram_contact_1_____, (7.615,12.67)))
dcache_tag_ram_hierarchi.add(gdstk.Reference(c_dcache_tag_ram_contact_1_____, (8.015,13.12)))
dcache_tag_ram_hierarchi.add(gdstk.Reference(c_dcache_tag_ram_contact_1_____, (7.215,15.25)))
dcache_tag_ram_hierarchi.add(gdstk.Reference(c_dcache_tag_ram_contact_1_____, (7.615,14.69)))
dcache_tag_ram_hierarchi.add(gdstk.Reference(c_dcache_tag_ram_contact_1_____, (8.015,14.24)))
dcache_tag_ram_hierarchi.add(gdstk.Reference(c_dcache_tag_ram_contact_1__, (5.565,0.435)))
dcache_tag_ram_hierarchi.add(gdstk.Reference(c_dcache_tag_ram_contact_1______, (5.55,0.44)))
dcache_tag_ram_hierarchi.add(gdstk.Reference(c_dcache_tag_ram_contact_1_______, (6.02,1.395)))
dcache_tag_ram_hierarchi.add(gdstk.Reference(c_dcache_tag_ram_contact_1__, (5.565,3.185)))
dcache_tag_ram_hierarchi.add(gdstk.Reference(c_dcache_tag_ram_contact_1______, (5.55,3.19)))
dcache_tag_ram_hierarchi.add(gdstk.Reference(c_dcache_tag_ram_contact_1_______, (6.42,3.37)))
dcache_tag_ram_hierarchi.add(gdstk.Reference(c_dcache_tag_ram_contact_1__, (5.565,4.385)))
dcache_tag_ram_hierarchi.add(gdstk.Reference(c_dcache_tag_ram_contact_1______, (5.55,4.39)))
dcache_tag_ram_hierarchi.add(gdstk.Reference(c_dcache_tag_ram_contact_1_______, (6.82,5.345)))
dcache_tag_ram_hierarchi.add(gdstk.Reference(dcache_tag_ram_contact_2, (0.305,15.28)))
dcache_tag_ram_hierarchi.add(gdstk.Reference(dcache_tag_ram_contact_2, (7.215,15.28)))
dcache_tag_ram_hierarchi.add(gdstk.Reference(dcache_tag_ram_contact_2, (0.705,14.72)))
dcache_tag_ram_hierarchi.add(gdstk.Reference(dcache_tag_ram_contact_2, (7.615,14.72)))
dcache_tag_ram_hierarchi.add(gdstk.Reference(dcache_tag_ram_contact_2, (1.105,14.27)))
dcache_tag_ram_hierarchi.add(gdstk.Reference(dcache_tag_ram_contact_2, (8.015,14.27)))
dcache_tag_ram_hierarchi.add(gdstk.Reference(c_dcache_tag_ram_contact_1______, (4.81,1.815)))
dcache_tag_ram_hierarchi.add(gdstk.Reference(c_dcache_tag_ram_contact_2, (4.805,1.79)))
dcache_tag_ram_hierarchi.add(gdstk.Reference(c_dcache_tag_ram_contact_1______, (4.81,3.79)))
dcache_tag_ram_hierarchi.add(gdstk.Reference(c_dcache_tag_ram_contact_2, (4.805,3.765)))
dcache_tag_ram_hierarchi.add(gdstk.Reference(c_dcache_tag_ram_contact_1______, (14.39,1.93)))
dcache_tag_ram_hierarchi.add(gdstk.Reference(c_dcache_tag_ram_contact_2, (14.385,1.905)))
dcache_tag_ram_hierarchi.add(gdstk.Reference(c_dcache_tag_ram_contact_1______, (12.23,1.93)))
dcache_tag_ram_hierarchi.add(gdstk.Reference(c_dcache_tag_ram_contact_2, (12.225,1.905)))
dcache_tag_ram_hierarchi.add(gdstk.Reference(c_dcache_tag_ram_contact_1______, (18.28,1.815)))
dcache_tag_ram_hierarchi.add(gdstk.Reference(c_dcache_tag_ram_contact_2, (18.275,1.79)))
dcache_tag_ram_hierarchi.add(gdstk.Reference(c_dcache_tag_ram_contact_1______, (14.39,13.78)))
dcache_tag_ram_hierarchi.add(gdstk.Reference(c_dcache_tag_ram_contact_2, (14.385,13.755)))
dcache_tag_ram_hierarchi.add(gdstk.Reference(c_dcache_tag_ram_contact_1______, (12.23,13.78)))
dcache_tag_ram_hierarchi.add(gdstk.Reference(c_dcache_tag_ram_contact_2, (12.225,13.755)))
dcache_tag_ram_hierarchi.add(gdstk.Reference(c_dcache_tag_ram_contact_1______, (18.28,13.665)))
dcache_tag_ram_hierarchi.add(gdstk.Reference(c_dcache_tag_ram_contact_2, (18.275,13.64)))
dcache_tag_ram_hierarchi.add(gdstk.Reference(c_dcache_tag_ram_contact_1______, (2.83,1.815)))
dcache_tag_ram_hierarchi.add(gdstk.Reference(c_dcache_tag_ram_contact_2, (2.825,1.79)))
dcache_tag_ram_hierarchi.add(gdstk.Reference(c_dcache_tag_ram_contact_1______, (2.83,3.79)))
dcache_tag_ram_hierarchi.add(gdstk.Reference(c_dcache_tag_ram_contact_2, (2.825,3.765)))
dcache_tag_ram_hierarchi.add(gdstk.Reference(c_dcache_tag_ram_contact_1______, (10.105,1.93)))
dcache_tag_ram_hierarchi.add(gdstk.Reference(c_dcache_tag_ram_contact_2, (10.1,1.905)))
dcache_tag_ram_hierarchi.add(gdstk.Reference(c_dcache_tag_ram_contact_1______, (16.3,1.815)))
dcache_tag_ram_hierarchi.add(gdstk.Reference(c_dcache_tag_ram_contact_2, (16.295,1.79)))
dcache_tag_ram_hierarchi.add(gdstk.Reference(c_dcache_tag_ram_contact_1______, (10.105,13.78)))
dcache_tag_ram_hierarchi.add(gdstk.Reference(c_dcache_tag_ram_contact_2, (10.1,13.755)))
dcache_tag_ram_hierarchi.add(gdstk.Reference(c_dcache_tag_ram_contact_1______, (16.3,13.665)))
dcache_tag_ram_hierarchi.add(gdstk.Reference(c_dcache_tag_ram_contact_2, (16.295,13.64)))
dcache_tag_ram_hierarchi.add(gdstk.Label('in_0', (0.47,0.85), layer=68, texttype=5))
dcache_tag_ram_hierarchi.add(gdstk.Label('in_1', (0.87,3.1), layer=68, texttype=5))
dcache_tag_ram_hierarchi.add(gdstk.Label('in_2', (1.27,4.8), layer=68, texttype=5))
dcache_tag_ram_hierarchi.add(gdstk.Label('out_0', (17.738,0.6), layer=67, texttype=5))
dcache_tag_ram_hierarchi.add(gdstk.Label('out_1', (17.738,3.35), layer=67, texttype=5))
dcache_tag_ram_hierarchi.add(gdstk.Label('out_2', (17.738,4.55), layer=67, texttype=5))
dcache_tag_ram_hierarchi.add(gdstk.Label('out_3', (17.738,7.3), layer=67, texttype=5))
dcache_tag_ram_hierarchi.add(gdstk.Label('out_4', (17.738,8.5), layer=67, texttype=5))
dcache_tag_ram_hierarchi.add(gdstk.Label('out_5', (17.738,11.25), layer=67, texttype=5))
dcache_tag_ram_hierarchi.add(gdstk.Label('out_6', (17.738,12.45), layer=67, texttype=5))
dcache_tag_ram_hierarchi.add(gdstk.Label('out_7', (17.738,15.2), layer=67, texttype=5))
dcache_tag_ram_hierarchi.add(gdstk.Label('vdd', (14.55,13.94), layer=70, texttype=5))
dcache_tag_ram_hierarchi.add(gdstk.Label('vdd', (12.39,13.94), layer=70, texttype=5))
dcache_tag_ram_hierarchi.add(gdstk.Label('vdd', (18.44,13.825), layer=70, texttype=5))
dcache_tag_ram_hierarchi.add(gdstk.Label('vdd', (4.97,1.975), layer=70, texttype=5))
dcache_tag_ram_hierarchi.add(gdstk.Label('vdd', (12.39,2.09), layer=70, texttype=5))
dcache_tag_ram_hierarchi.add(gdstk.Label('vdd', (18.44,1.975), layer=70, texttype=5))
dcache_tag_ram_hierarchi.add(gdstk.Label('vdd', (14.55,2.09), layer=70, texttype=5))
dcache_tag_ram_hierarchi.add(gdstk.Label('vdd', (4.97,3.95), layer=70, texttype=5))
dcache_tag_ram_hierarchi.add(gdstk.Label('gnd', (10.265,2.09), layer=70, texttype=5))
dcache_tag_ram_hierarchi.add(gdstk.Label('gnd', (2.99,1.975), layer=70, texttype=5))
dcache_tag_ram_hierarchi.add(gdstk.Label('gnd', (10.265,13.94), layer=70, texttype=5))
dcache_tag_ram_hierarchi.add(gdstk.Label('gnd', (2.99,3.95), layer=70, texttype=5))
dcache_tag_ram_hierarchi.add(gdstk.Label('gnd', (16.46,13.825), layer=70, texttype=5))
dcache_tag_ram_hierarchi.add(gdstk.Label('gnd', (16.46,1.975), layer=70, texttype=5))

lib.write_gds('dcache_tag_ram_hierarchical_predecode3x8.gds')
